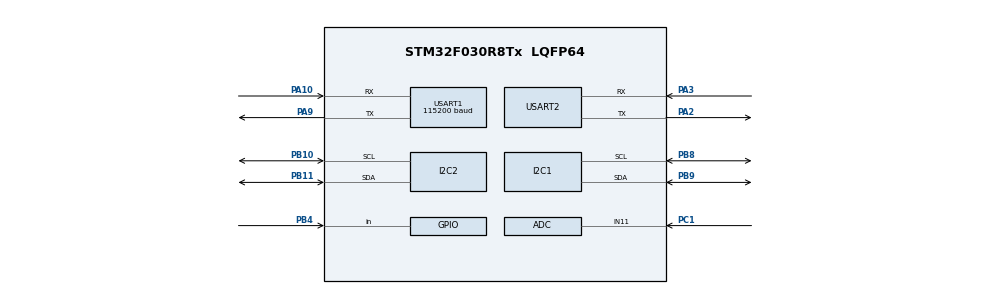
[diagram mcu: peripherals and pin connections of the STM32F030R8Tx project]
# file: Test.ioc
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FREERTOS.Tasks01=defaultTask,0,128,StartDefaultTask,Default,NULL,Dynamic,NULL,NULL;task1,-3,128,StartTask02,Default,NULL,Dynamic,NULL,NULL
Mcu.Family=STM32F0
Mcu.Name=STM32F030R8Tx
Mcu.Package=LQFP64
NVIC.TIM1_BRK_UP_TRG_COM_IRQn=true\:0\:0\:false\:false\:true\:false\:false
NVIC.TimeBase=TIM1_BRK_UP_TRG_COM_IRQn
NVIC.TimeBaseIP=TIM1
PA10.Mode=Asynchronous
PA10.Signal=USART1_RX
PA2.Mode=Asynchronous
PA2.Signal=USART2_TX
PA3.Mode=Asynchronous
PA3.Signal=USART2_RX
PA9.Mode=Asynchronous
PA9.Signal=USART1_TX
PB10.Mode=I2C
PB10.Signal=I2C2_SCL
PB11.Mode=I2C
PB11.Signal=I2C2_SDA
PB4.GPIO_PuPd=GPIO_PULLUP
PB4.Signal=GPIO_Input
PB8.Mode=I2C
PB8.Signal=I2C1_SCL
PB9.Mode=I2C
PB9.Signal=I2C1_SDA
PC1.Mode=IN11
PC1.Signal=ADC_IN11
ProjectManager.HeapSize=0x200
ProjectManager.StackSize=0x400
ProjectManager.TargetToolchain=SW4STM32
USART1.BaudRate=115200
USART1.VirtualMode-Asynchronous=VM_ASYNC
USART2.VirtualMode-Asynchronous=VM_ASYNC
VP_CRC_VS_CRC.Mode=CRC_Activate
VP_FREERTOS_VS_ENABLE.Mode=Enabled
VP_SYS_VS_tim1.Mode=TIM1
VP_TIM14_VS_ClockSourceINT.Mode=Enable_Timer
VP_TIM6_VS_ClockSourceINT.Mode=Enable_Timer
board=custom

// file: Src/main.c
/**
  ******************************************************************************
  * @file           : main.c
  * @brief          : Main program body
  ******************************************************************************
  * This notice applies to any and all portions of this file
  * that are not between comment pairs USER CODE BEGIN and
  * USER CODE END. Other portions of this file, whether
  * inserted by the user or by software development tools
  * are owned by their respective copyright owners.
  *
  * Copyright (c) 2018 STMicroelectronics International N.V.
  * All rights reserved.
  *
  * Redistribution and use in source and binary forms, with or without
  * modification, are permitted, provided that the following conditions are met:
  *
  * 1. Redistribution of source code must retain the above copyright notice,
  *    this list of conditions and the following disclaimer.
  * 2. Redistributions in binary form must reproduce the above copyright notice,
  *    this list of conditions and the following disclaimer in the documentation
  *    and/or other materials provided with the distribution.
  * 3. Neither the name of STMicroelectronics nor the names of other
  *    contributors to this software may be used to endorse or promote products
  *    derived from this software without specific written permission.
  * 4. This software, including modifications and/or derivative works of this
  *    software, must execute solely and exclusively on microcontroller or
  *    microprocessor devices manufactured by or for STMicroelectronics.
  * 5. Redistribution and use of this software other than as permitted under
  *    this license is void and will automatically terminate your rights under
  *    this license.
  *
  * THIS SOFTWARE IS PROVIDED BY STMICROELECTRONICS AND CONTRIBUTORS "AS IS"
  * AND ANY EXPRESS, IMPLIED OR STATUTORY WARRANTIES, INCLUDING, BUT NOT
  * LIMITED TO, THE IMPLIED WARRANTIES OF MERCHANTABILITY, FITNESS FOR A
  * PARTICULAR PURPOSE AND NON-INFRINGEMENT OF THIRD PARTY INTELLECTUAL PROPERTY
  * RIGHTS ARE DISCLAIMED TO THE FULLEST EXTENT PERMITTED BY LAW. IN NO EVENT
  * SHALL STMICROELECTRONICS OR CONTRIBUTORS BE LIABLE FOR ANY DIRECT, INDIRECT,
  * INCIDENTAL, SPECIAL, EXEMPLARY, OR CONSEQUENTIAL DAMAGES (INCLUDING, BUT NOT
  * LIMITED TO, PROCUREMENT OF SUBSTITUTE GOODS OR SERVICES; LOSS OF USE, DATA,
  * OR PROFITS; OR BUSINESS INTERRUPTION) HOWEVER CAUSED AND ON ANY THEORY OF
  * LIABILITY, WHETHER IN CONTRACT, STRICT LIABILITY, OR TORT (INCLUDING
  * NEGLIGENCE OR OTHERWISE) ARISING IN ANY WAY OUT OF THE USE OF THIS SOFTWARE,
  * EVEN IF ADVISED OF THE POSSIBILITY OF SUCH DAMAGE.
  *
  ******************************************************************************
  */
#include "main.h"
#include "stm32f0xx_hal.h"
#include "cmsis_os.h"
#include "si7021.h"
#include "ssd1306.h"
/* USER CODE BEGIN Includes */

#include "string.h"
#define SSD1306_I2C_ADDR        0x78
// SSD1306 width in pixels
#define SSD1306_WIDTH           128
// SSD1306 LCD height in pixels
#define SSD1306_HEIGHT          32

#define I2CTIMEOUT 				100

#define ADDRESS      			0x40
#define TEMP_MEASURE_NOHOLD  	0xF3
#define HUMD_MEASURE_NOHOLD  	0xF5
/* USER CODE END Includes */

ADC_HandleTypeDef hadc;

CRC_HandleTypeDef hcrc;

I2C_HandleTypeDef hi2c1;
I2C_HandleTypeDef hi2c2;

TIM_HandleTypeDef htim6;
TIM_HandleTypeDef htim14;

UART_HandleTypeDef huart1;
UART_HandleTypeDef huart2;

osThreadId defaultTaskHandle;
osThreadId task1Handle;

/* USER CODE BEGIN PV */
/* Private variables ---------------------------------------------------------*/

/* USER CODE END PV */

void SystemClock_Config(void);
static void MX_GPIO_Init(void);
static void MX_I2C1_Init(void);
static void MX_I2C2_Init(void);
static void MX_USART1_UART_Init(void);
static void MX_USART2_UART_Init(void);
static void MX_CRC_Init(void);
static void MX_TIM6_Init(void);
static void MX_ADC_Init(void);
static void MX_TIM14_Init(void);
void StartDefaultTask(void const * argument);
void StartTask02(void const * argument);

/* USER CODE BEGIN PFP */
/* Private function prototypes -----------------------------------------------*/
/* USER CODE END PFP */

int main(void)
{

  /* MCU Configuration----------------------------------------------------------*/

  /* Reset of all peripherals, Initializes the Flash interface and the Systick. */
  HAL_Init();

  /* Configure the system clock */
  SystemClock_Config();

  /* Initialize all configured peripherals */
  MX_GPIO_Init();
  MX_I2C1_Init();
  MX_I2C2_Init();
  MX_USART1_UART_Init();
  MX_USART2_UART_Init();
  MX_CRC_Init();
  MX_TIM6_Init();
  MX_ADC_Init();
  MX_TIM14_Init();
  /* USER CODE BEGIN 2 */
	/*void I2C1Send(uint8_t address, uint8_t data) {
	 HAL_I2C_Master_Transmit(&hi2c1, address, &data, I2CTIMEOUT);
	 }*/
  /* USER CODE END 2 */

  /* Create the thread(s) */
  /* definition and creation of defaultTask */
  osThreadDef(defaultTask, StartDefaultTask, osPriorityNormal, 0, 128);
  defaultTaskHandle = osThreadCreate(osThread(defaultTask), NULL);

  /* definition and creation of task1 */
  osThreadDef(task1, StartTask02, osPriorityIdle, 0, 128);
  task1Handle = osThreadCreate(osThread(task1), NULL);

  /* Start scheduler */
  osKernelStart();

  /* We should never get here as control is now taken by the scheduler */

  /* Infinite loop */
	while (1) {

	}

}

void SystemClock_Config(void)
{

  RCC_OscInitTypeDef RCC_OscInitStruct;
  RCC_ClkInitTypeDef RCC_ClkInitStruct;
  RCC_PeriphCLKInitTypeDef PeriphClkInit;

    /**Initializes the CPU, AHB and APB busses clocks
    */
  RCC_OscInitStruct.OscillatorType = RCC_OSCILLATORTYPE_HSI|RCC_OSCILLATORTYPE_HSI14;
  RCC_OscInitStruct.HSIState = RCC_HSI_ON;
  RCC_OscInitStruct.HSI14State = RCC_HSI14_ON;
  RCC_OscInitStruct.HSICalibrationValue = 16;
  RCC_OscInitStruct.HSI14CalibrationValue = 16;
  RCC_OscInitStruct.PLL.PLLState = RCC_PLL_NONE;
  if (HAL_RCC_OscConfig(&RCC_OscInitStruct) != HAL_OK)
  {
    _Error_Handler(__FILE__, __LINE__);
  }

    /**Initializes the CPU, AHB and APB busses clocks
    */
  RCC_ClkInitStruct.ClockType = RCC_CLOCKTYPE_HCLK|RCC_CLOCKTYPE_SYSCLK
                              |RCC_CLOCKTYPE_PCLK1;
  RCC_ClkInitStruct.SYSCLKSource = RCC_SYSCLKSOURCE_HSI;
  RCC_ClkInitStruct.AHBCLKDivider = RCC_SYSCLK_DIV1;
  RCC_ClkInitStruct.APB1CLKDivider = RCC_HCLK_DIV1;

  if (HAL_RCC_ClockConfig(&RCC_ClkInitStruct, FLASH_LATENCY_0) != HAL_OK)
  {
    _Error_Handler(__FILE__, __LINE__);
  }

  PeriphClkInit.PeriphClockSelection = RCC_PERIPHCLK_USART1|RCC_PERIPHCLK_I2C1;
  PeriphClkInit.Usart1ClockSelection = RCC_USART1CLKSOURCE_PCLK1;
  PeriphClkInit.I2c1ClockSelection = RCC_I2C1CLKSOURCE_HSI;
  if (HAL_RCCEx_PeriphCLKConfig(&PeriphClkInit) != HAL_OK)
  {
    _Error_Handler(__FILE__, __LINE__);
  }

    /**Configure the Systick interrupt time
    */
  HAL_SYSTICK_Config(HAL_RCC_GetHCLKFreq()/1000);

    /**Configure the Systick
    */
  HAL_SYSTICK_CLKSourceConfig(SYSTICK_CLKSOURCE_HCLK);

  /* SysTick_IRQn interrupt configuration */
  HAL_NVIC_SetPriority(SysTick_IRQn, 3, 0);
}

/* ADC init function */
static void MX_ADC_Init(void)
{

  ADC_ChannelConfTypeDef sConfig;

    /**Configure the global features of the ADC (Clock, Resolution, Data Alignment and number of conversion)
    */
  hadc.Instance = ADC1;
  hadc.Init.ClockPrescaler = ADC_CLOCK_ASYNC_DIV1;
  hadc.Init.Resolution = ADC_RESOLUTION_12B;
  hadc.Init.DataAlign = ADC_DATAALIGN_RIGHT;
  hadc.Init.ScanConvMode = ADC_SCAN_DIRECTION_FORWARD;
  hadc.Init.EOCSelection = ADC_EOC_SINGLE_CONV;
  hadc.Init.LowPowerAutoWait = DISABLE;
  hadc.Init.LowPowerAutoPowerOff = DISABLE;
  hadc.Init.ContinuousConvMode = DISABLE;
  hadc.Init.DiscontinuousConvMode = DISABLE;
  hadc.Init.ExternalTrigConv = ADC_SOFTWARE_START;
  hadc.Init.ExternalTrigConvEdge = ADC_EXTERNALTRIGCONVEDGE_NONE;
  hadc.Init.DMAContinuousRequests = DISABLE;
  hadc.Init.Overrun = ADC_OVR_DATA_PRESERVED;
  if (HAL_ADC_Init(&hadc) != HAL_OK)
  {
    _Error_Handler(__FILE__, __LINE__);
  }

    /**Configure for the selected ADC regular channel to be converted.
    */
  sConfig.Channel = ADC_CHANNEL_11;
  sConfig.Rank = ADC_RANK_CHANNEL_NUMBER;
  sConfig.SamplingTime = ADC_SAMPLETIME_1CYCLE_5;
  if (HAL_ADC_ConfigChannel(&hadc, &sConfig) != HAL_OK)
  {
    _Error_Handler(__FILE__, __LINE__);
  }

}

/* CRC init function */
static void MX_CRC_Init(void)
{

  hcrc.Instance = CRC;
  hcrc.Init.DefaultPolynomialUse = DEFAULT_POLYNOMIAL_ENABLE;
  hcrc.Init.DefaultInitValueUse = DEFAULT_INIT_VALUE_ENABLE;
  hcrc.Init.InputDataInversionMode = CRC_INPUTDATA_INVERSION_NONE;
  hcrc.Init.OutputDataInversionMode = CRC_OUTPUTDATA_INVERSION_DISABLE;
  hcrc.InputDataFormat = CRC_INPUTDATA_FORMAT_BYTES;
  if (HAL_CRC_Init(&hcrc) != HAL_OK)
  {
    _Error_Handler(__FILE__, __LINE__);
  }

  if (HAL_CRCEx_Init(&hcrc) != HAL_OK)
  {
    _Error_Handler(__FILE__, __LINE__);
  }

}

/* I2C1 init function */
static void MX_I2C1_Init(void)
{

  hi2c1.Instance = I2C1;
  hi2c1.Init.Timing = 0x2000090E;
  hi2c1.Init.OwnAddress1 = 0;
  hi2c1.Init.AddressingMode = I2C_ADDRESSINGMODE_7BIT;
  hi2c1.Init.DualAddressMode = I2C_DUALADDRESS_DISABLE;
  hi2c1.Init.OwnAddress2 = 0;
  hi2c1.Init.OwnAddress2Masks = I2C_OA2_NOMASK;
  hi2c1.Init.GeneralCallMode = I2C_GENERALCALL_DISABLE;
  hi2c1.Init.NoStretchMode = I2C_NOSTRETCH_DISABLE;
  if (HAL_I2C_Init(&hi2c1) != HAL_OK)
  {
    _Error_Handler(__FILE__, __LINE__);
  }

    /**Configure Analogue filter
    */
  if (HAL_I2CEx_ConfigAnalogFilter(&hi2c1, I2C_ANALOGFILTER_ENABLE) != HAL_OK)
  {
    _Error_Handler(__FILE__, __LINE__);
  }

    /**Configure Digital filter
    */
  if (HAL_I2CEx_ConfigDigitalFilter(&hi2c1, 0) != HAL_OK)
  {
    _Error_Handler(__FILE__, __LINE__);
  }

}

/* I2C2 init function */
static void MX_I2C2_Init(void)
{

  hi2c2.Instance = I2C2;
  hi2c2.Init.Timing = 0x2000090E;
  hi2c2.Init.OwnAddress1 = 0;
  hi2c2.Init.AddressingMode = I2C_ADDRESSINGMODE_7BIT;
  hi2c2.Init.DualAddressMode = I2C_DUALADDRESS_DISABLE;
  hi2c2.Init.OwnAddress2 = 0;
  hi2c2.Init.OwnAddress2Masks = I2C_OA2_NOMASK;
  hi2c2.Init.GeneralCallMode = I2C_GENERALCALL_DISABLE;
  hi2c2.Init.NoStretchMode = I2C_NOSTRETCH_DISABLE;
  if (HAL_I2C_Init(&hi2c2) != HAL_OK)
  {
    _Error_Handler(__FILE__, __LINE__);
  }

    /**Configure Analogue filter
    */
  if (HAL_I2CEx_ConfigAnalogFilter(&hi2c2, I2C_ANALOGFILTER_ENABLE) != HAL_OK)
  {
    _Error_Handler(__FILE__, __LINE__);
  }

    /**Configure Digital filter
    */
  if (HAL_I2CEx_ConfigDigitalFilter(&hi2c2, 0) != HAL_OK)
  {
    _Error_Handler(__FILE__, __LINE__);
  }

}

/* TIM6 init function */
static void MX_TIM6_Init(void)
{

  htim6.Instance = TIM6;
  htim6.Init.Prescaler = 0;
  htim6.Init.CounterMode = TIM_COUNTERMODE_UP;
  htim6.Init.Period = 0;
  htim6.Init.AutoReloadPreload = TIM_AUTORELOAD_PRELOAD_DISABLE;
  if (HAL_TIM_Base_Init(&htim6) != HAL_OK)
  {
    _Error_Handler(__FILE__, __LINE__);
  }

}

/* TIM14 init function */
static void MX_TIM14_Init(void)
{

  htim14.Instance = TIM14;
  htim14.Init.Prescaler = 0;
  htim14.Init.CounterMode = TIM_COUNTERMODE_UP;
  htim14.Init.Period = 0;
  htim14.Init.ClockDivision = TIM_CLOCKDIVISION_DIV1;
  htim14.Init.AutoReloadPreload = TIM_AUTORELOAD_PRELOAD_DISABLE;
  if (HAL_TIM_Base_Init(&htim14) != HAL_OK)
  {
    _Error_Handler(__FILE__, __LINE__);
  }

}

/* USART1 init function */
static void MX_USART1_UART_Init(void)
{

  huart1.Instance = USART1;
  huart1.Init.BaudRate = 115200;
  huart1.Init.WordLength = UART_WORDLENGTH_8B;
  huart1.Init.StopBits = UART_STOPBITS_1;
  huart1.Init.Parity = UART_PARITY_NONE;
  huart1.Init.Mode = UART_MODE_TX_RX;
  huart1.Init.HwFlowCtl = UART_HWCONTROL_NONE;
  huart1.Init.OverSampling = UART_OVERSAMPLING_16;
  huart1.Init.OneBitSampling = UART_ONE_BIT_SAMPLE_DISABLE;
  huart1.AdvancedInit.AdvFeatureInit = UART_ADVFEATURE_NO_INIT;
  if (HAL_UART_Init(&huart1) != HAL_OK)
  {
    _Error_Handler(__FILE__, __LINE__);
  }

}

/* USART2 init function */
static void MX_USART2_UART_Init(void)
{

  huart2.Instance = USART2;
  huart2.Init.BaudRate = 38400;
  huart2.Init.WordLength = UART_WORDLENGTH_8B;
  huart2.Init.StopBits = UART_STOPBITS_1;
  huart2.Init.Parity = UART_PARITY_NONE;
  huart2.Init.Mode = UART_MODE_TX_RX;
  huart2.Init.HwFlowCtl = UART_HWCONTROL_NONE;
  huart2.Init.OverSampling = UART_OVERSAMPLING_16;
  huart2.Init.OneBitSampling = UART_ONE_BIT_SAMPLE_DISABLE;
  huart2.AdvancedInit.AdvFeatureInit = UART_ADVFEATURE_NO_INIT;
  if (HAL_UART_Init(&huart2) != HAL_OK)
  {
    _Error_Handler(__FILE__, __LINE__);
  }

}

/** Configure pins as
        * Analog
        * Input
        * Output
        * EVENT_OUT
        * EXTI
*/
static void MX_GPIO_Init(void)
{

  GPIO_InitTypeDef GPIO_InitStruct;

  /* GPIO Ports Clock Enable */
  __HAL_RCC_GPIOC_CLK_ENABLE();
  __HAL_RCC_GPIOA_CLK_ENABLE();
  __HAL_RCC_GPIOB_CLK_ENABLE();

  /*Configure GPIO pin : PB4 */
  GPIO_InitStruct.Pin = GPIO_PIN_4;
  GPIO_InitStruct.Mode = GPIO_MODE_INPUT;
  GPIO_InitStruct.Pull = GPIO_PULLUP;
  HAL_GPIO_Init(GPIOB, &GPIO_InitStruct);

}

/* StartDefaultTask function */
void StartDefaultTask(void const * argument)
{

  /* USER CODE BEGIN 5 */
	/* Infinite loop */
	float result;
	float humidity;
	float tempf;
	char lcd_buf[25];
	char ldr[25];
	char ldr2[25];
	uint32_t adcResult = 0;
	ssd1306_Init();
	int array_windspeed[4];
	int count_windspeed = 0;
	int millis_begin = 0;
	int millis_end = 0;

	for (;;) {

		ssd1306_Fill(Black);
		uint16_t RH_Code = makeMeasurment(HUMD_MEASURE_NOHOLD);
		result = (125.0 * RH_Code / 65536) - 6;
		humidity = result;
		uint16_t temp_Code = makeMeasurment(TEMP_MEASURE_NOHOLD);
		result = ((175.72 * temp_Code) / 65536) - 46.85;
		tempf = result;
		itoa((int)(tempf * 10),lcd_buf,10);
		lcd_buf[3] = lcd_buf[2];
		lcd_buf[2] = ',';
		ssd1306_SetCursor(0, 0);	//set cursor position x=0, y=0
		ssd1306_WriteString(lcd_buf, Font_7x10, White);
		itoa((int)(humidity * 10),lcd_buf,10);
		lcd_buf[3] = lcd_buf[2];
		lcd_buf[2] = ',';
		ssd1306_SetCursor(50, 0);	//set cursor position x=0, y=0
		ssd1306_WriteString(lcd_buf, Font_7x10, White);
		//osDelay(0);

		HAL_ADC_Start(&hadc);
		HAL_ADC_PollForConversion(&hadc, 100);

			adcResult = 0;

		adcResult = HAL_ADC_GetValue(&hadc);
		HAL_ADC_Stop(&hadc);
		itoa(adcResult,ldr2,10);

		ssd1306_SetCursor(0, 10);	//set cursor position x=0, y=0
		itoa(adcResult,ldr2,10);
		ssd1306_WriteString(ldr2, Font_7x10, White);

		GPIO_PinState state= 0;

		state =  HAL_GPIO_ReadPin( GPIOB, GPIO_PIN_4 );
		if(state == 1)
		{
			millis_end = xTaskGetTickCount() - millis_begin;
			millis_begin = xTaskGetTickCount();
			//count_windspeed++;
			//if(count_windspeed == 4)count_windspeed = 0;
		}
		ssd1306_SetCursor(50, 10);
		itoa(millis_end,ldr2,10);
		ssd1306_WriteString(ldr2, Font_7x10, White);

		ssd1306_UpdateScreen();
	}

  /* USER CODE END 5 */
}

/* StartTask02 function */
void StartTask02(void const * argument)
{
	for (;;) {
		osDelay(1);
	}
}

void HAL_TIM_PeriodElapsedCallback(TIM_HandleTypeDef *htim)
{
  if (htim->Instance == TIM1) {
    HAL_IncTick();
  }
}

void _Error_Handler(char *file, int line)
{
	while (1) {
	}
}

/************************ (C) COPYRIGHT STMicroelectronics *****END OF FILE****/
